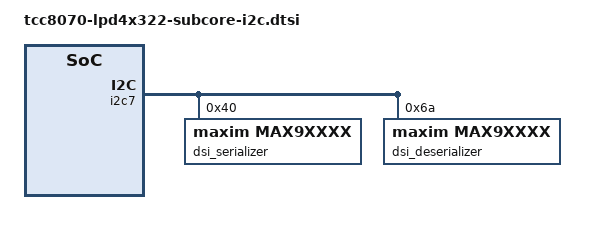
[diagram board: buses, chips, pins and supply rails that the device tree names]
// SPDX-License-Identifier: (GPL-2.0-or-later OR MIT)
/*
 * Copyright (C) 2023 Telechips Inc.
 */

/* TUNER, MIPI1_0 */
&i2c2 {
	status = "disabled";
	port-mux = <34>;
	retry-count = <100>;
	cmd-timeout = <2000>;
	pinctrl-names = "default", "sleep";
	pinctrl-0 = <&i2c34_bus_active>;
	pinctrl-1 = <&i2c34_bus_sleep>;

	#address-cells = <1>;
	#size-cells = <0>;
};

/* DISP4_TSC, C_SEN0, MIPI0_0 */
&i2c3 {
	status = "disabled";
	port-mux = <29>;
	retry-count = <100>;
	cmd-timeout = <2000>;
	pinctrl-names = "default", "sleep";
	pinctrl-0 = <&i2c29_bus_active>;
	pinctrl-1 = <&i2c29_bus_sleep>;

	#address-cells = <1>;
	#size-cells = <0>;
};

/* DSI SER, MIPI0_2 */
&i2c7 {
	status = "okay";
	port-mux = <35>;
	pinctrl-names = "default", "sleep";
	pinctrl-0 = <&i2c35_bus_active>;
	pinctrl-1 = <&i2c35_bus_sleep>;

	#address-cells = <1>;
	#size-cells = <0>;

	dsi_serializer: max96789@40 {
		compatible = "maxim,max9XXXX";
		reg = <0x40>;
	};

	dsi_deserializer: max96878@6a {
		compatible = "maxim,max9XXXX";
		reg = <0x6a>;
	};
};

/* dedicated I2C in Camera : MIPI 0 */
&i2c12 {
 	status = "disabled";
	port-mux = <1>;
	retry-count = <100>;
	cmd-timeout = <2000>;
	pinctrl-names = "default", "sleep";
	pinctrl-0 = <&i2c_cam1_bus_active>;
	pinctrl-1 = <&i2c_cam1_bus_sleep>;

 	#address-cells = <1>;
 	#size-cells = <0>;
};

/* dedicated I2C in Camera : MIPI 1 */
&i2c13 {
 	status = "disabled";
	port-mux = <2>;
	retry-count = <100>;
	cmd-timeout = <2000>;
	pinctrl-names = "default", "sleep";
	pinctrl-0 = <&i2c_cam2_bus_active>;
	pinctrl-1 = <&i2c_cam2_bus_sleep>;

 	#address-cells = <1>;
 	#size-cells = <0>;
};


&pinctrl {
	i2c34_bus_active: i2c34_bus_active {
		telechips,pins = "gpmb-30", "gpmb-31";
		telechips,pin-function = <8>;
		telechips,input_buffer_enable;
		telechips,no-pull;
	};

	i2c29_bus_active: i2c29_bus_active {
		telechips,pins = "gpmb-4", "gpmb-5";
		telechips,pin-function = <8>;
		telechips,input_buffer_enable;
		telechips,no-pull;
	};

	i2c35_bus_active: i2c35_bus_active {
		telechips,pins = "gpmc-4", "gpmc-5";
		telechips,pin-function = <8>;
		telechips,input_buffer_enable;
		telechips,no-pull;
	};

	i2c34_bus_sleep: i2c34_bus_sleep {
		telechips,pins = "gpmb-30", "gpmb-31";
		telechips,pin-function = <0>;
		telechips,no-pull;
	};

	i2c29_bus_sleep: i2c29_bus_sleep {
		telechips,pins = "gpmb-4", "gpmb-5";
		telechips,pin-function = <0>;
		telechips,no-pull;
	};

	i2c35_bus_sleep: i2c35_bus_sleep {
		telechips,pins = "gpmc-4", "gpmc-5";
		telechips,pin-function = <0>;
		telechips,no-pull;
	};

	i2c_cam1_bus_active: i2c_cam1_bus_active {
		telechips,pins = "gpmb-4", "gpmb-5";
		telechips,pin-function = <9>;
		telechips,input_buffer_enable;
		telechips,no-pull;
	};

	i2c_cam1_bus_sleep: i2c_cam1_bus_sleep {
		telechips,pins = "gpmb-4", "gpmb-5";
		telechips,pin-function = <0>;
		telechips,no-pull;
	};

	i2c_cam2_bus_active: i2c_cam2_bus_active {
		telechips,pins = "gpmb-30", "gpmb-31";
		telechips,pin-function = <9>;
		telechips,input_buffer_enable;
		telechips,no-pull;
	};

	i2c_cam2_bus_sleep: i2c_cam2_bus_sleep {
		telechips,pins = "gpmb-30", "gpmb-30";
		telechips,pin-function = <0>;
		telechips,no-pull;
	};

};
